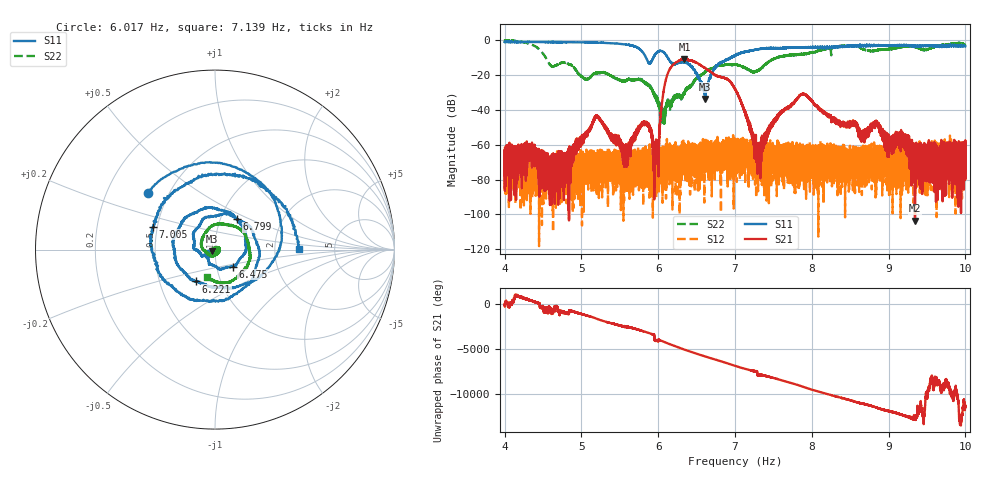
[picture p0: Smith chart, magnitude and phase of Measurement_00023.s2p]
!Created with skrf (http://scikit-rf.org).
# Hz S RI R 50.0
!freq ReS11 ImS11 ReS21 ImS21 ReS12 ImS12 ReS22 ImS22
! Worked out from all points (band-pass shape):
!   14001 points, 4 Hz to 10 Hz, reference 50 ohm
!   highest |S21| = -10.82 dB at 6.341 Hz (marker M1); lowest = -103.7 dB at 9.344 Hz (marker M2)
!   |S21| within 3 dB of the highest: 6.201399 Hz to 6.20177 Hz (371.3 uHz wide, 0.00599 % of centre); 6.202 Hz to 6.532 Hz (330.1 mHz wide, 5.18 % of centre)
!   lowest |S11| = -33.7 dB at 6.611 Hz (marker M3), VSWR 1.04, Z = 48.2 - j0.964 ohm
!   |S11| at or under -10 dB: 5.841 Hz to 5.937 Hz (95.75 mHz wide, 1.63 % of centre); 6.123 Hz to 6.948 Hz (825.3 mHz wide, 12.6 % of centre); 6.948646 Hz to 6.951691 Hz (3.045 mHz wide, 0.0438 % of centre) (the widest 3 of 5)
!   |S22| runs from -47.9 to -0.2 dB; largest |S21 - S12| = 0.29
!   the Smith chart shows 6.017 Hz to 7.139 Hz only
!   S11 on the Smith chart (normalised r, x): 6.017 Hz: 0.38, +0.32; 6.221 Hz: 0.76, -0.28; 6.475 Hz: 1.19, -0.23; 6.799 Hz: 1.20, +0.42; 7.005 Hz: 0.47, +0.14; 7.139 Hz: 2.76, +0.02
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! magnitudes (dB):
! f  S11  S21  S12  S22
! 4 Hz  -1.1  -69.8  -74.5  -0.3
! 4.599 Hz  -1.1  -77.8  -72.5  -14.6
! 5 Hz  -1.2  -58.9  -71.2  -20.8
! 5.203 Hz  -1.4  -43.8  -74.7  -18.8
! 5.572 Hz  -2.5  -62.8  -75.5  -23.4
! 5.809 Hz  -7.6  -47.9  -71.9  -23.7
! 6 Hz  -6.5  -69.6  -69.4  -35.4
! 6.017 Hz  -6.2  -53.2  -73.6  -38.2
! 6.095 Hz  -8.2  -23.5  -67.1  -38.7
! 6.221 Hz  -13.7  -13.1  -65.3  -33.5
! 6.341 Hz  -12.4  -10.8  -67.3  -30.8
! 6.475 Hz  -17.3  -12.5  -68.3  -23.3
! 6.611 Hz  -33.7  -16.1  -73.8  -18.3
! 6.799 Hz  -13.6  -21.0  -61.4  -14.6
! 7 Hz  -8.9  -28.0  -67.4  -14.1
! 7.005 Hz  -8.7  -28.4  -60.1  -14.0
! 7.139 Hz  -6.6  -43.4  -70.4  -16.2
! 7.309 Hz  -5.2  -67.3  -70.3  -17.5
! 8 Hz  -4.3  -34.9  -66.8  -6.9
! 9 Hz  -3.2  -56.4  -71.5  -5.1
! 9.344 Hz  -3.3  -103.7  -63.9  -3.8
! 10 Hz  -3.6  -69.0  -67.9  -3.1
